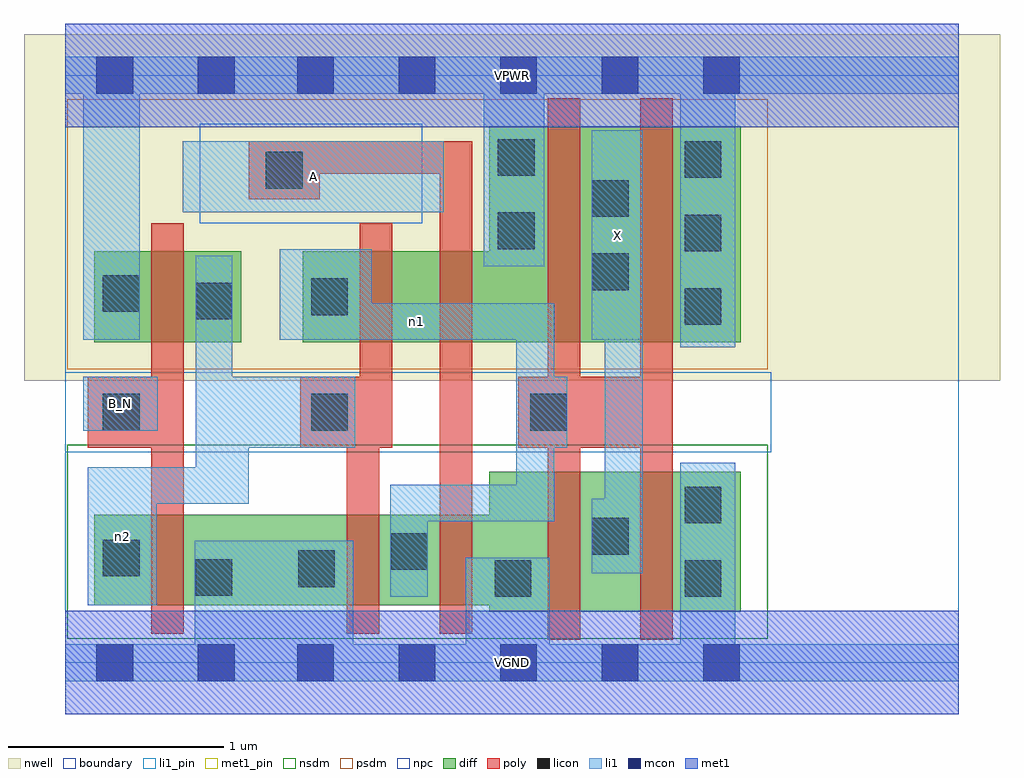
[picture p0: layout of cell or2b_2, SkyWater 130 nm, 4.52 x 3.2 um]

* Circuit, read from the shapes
.subckt or2b_2 A B_N VGND VPWR X n1 n2
XM1 VGND B_N n2 VSUBS sky130_fd_pr__nfet_01v8 w=0.42 l=0.15
XM2 n1 n2 VGND VSUBS sky130_fd_pr__nfet_01v8 w=0.42 l=0.15
XM3 VGND A n1 VSUBS sky130_fd_pr__nfet_01v8 w=0.42 l=0.15
XM4 X n1 VGND VSUBS sky130_fd_pr__nfet_01v8 w=0.65 l=0.15 m=2
XM5 n2 B_N VPWR n3 sky130_fd_pr__pfet_01v8 w=0.42 l=0.15
XM6 n4 n2 n1 n3 sky130_fd_pr__pfet_01v8 w=0.42 l=0.15
XM7 VPWR A n4 n3 sky130_fd_pr__pfet_01v8 w=0.42 l=0.15
XM8 X n1 VPWR n3 sky130_fd_pr__pfet_01v8 w=1 l=0.15 m=2
.ends

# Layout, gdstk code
import gdstk
lib = gdstk.Library(unit=1e-6, precision=1e-09)
def R(c, l, rs):  # rectangles x0, y0, x1, y1
    for r in rs: c.add(gdstk.rectangle(r[:2], r[2:], *l))
def A(c, l, x, y, w, h, nx, ny, dx, dy):  # array of equal rectangles
    R(c, l, [(x+i*dx, y+j*dy, x+i*dx+w, y+j*dy+h) for i in range(nx) for j in range(ny)])
nwell = (64, 20)
diff = (65, 20)
poly = (66, 20)
licon = (66, 44)
li1_pin = (67, 16)
li1 = (67, 20)
mcon = (67, 44)
met1_pin = (68, 16)
met1 = (68, 20)
nsdm = (93, 44)
psdm = (94, 20)
npc = (95, 20)
boundary = (235, 4)

or2b_2 = lib.new_cell('or2b_2')
R(or2b_2, nwell, [(-0.19,1.305,4.33,2.91), (0,1.305,4.14,2.91)])
R(or2b_2, diff, [(1.965,0.235,3.13,0.885), (0.135,0.265,3.13,0.685), (0.135,1.485,0.815,1.905), (1.1,1.485,3.13,1.905), (1.965,1.485,3.13,2.485)])
R(or2b_2, poly, [(2.235,0.105,2.385,2.615), (2.665,0.105,2.815,2.615), (0.4,0.135,0.55,2.035), (1.305,0.135,1.455,1.325), (1.735,0.135,1.885,2.415), (0.105,0.995,0.55,1.325), (1.09,0.995,1.515,1.325), (1.365,0.995,1.515,2.035), (2.1,0.995,2.815,1.325), (0.85,2.145,1.18,2.415), (0.85,2.265,1.885,2.415)])
A(or2b_2, licon, 2.87, 1.565, 0.17, 0.17, 1, 3, 0, 0.34)
R(or2b_2, licon, [(1.99,0.305,2.16,0.475), (2.87,0.305,3.04,0.475), (0.605,0.31,0.775,0.48), (1.08,0.35,1.25,0.52), (0.175,0.4,0.345,0.57), (1.51,0.43,1.68,0.6), (2.44,0.5,2.61,0.67), (2.87,0.645,3.04,0.815), (0.175,1.075,0.345,1.245), (1.14,1.075,1.31,1.245), (2.155,1.075,2.325,1.245), (0.605,1.59,0.775,1.76), (1.14,1.61,1.31,1.78), (0.175,1.625,0.345,1.795), (2.44,1.725,2.61,1.895), (2.005,1.915,2.175,2.085), (2.44,2.065,2.61,2.235), (0.93,2.195,1.1,2.365), (2.005,2.255,2.175,2.425)])
R(or2b_2, li1_pin, [(0.085,1.075,0.43,1.325), (2.44,1.495,2.675,2.465), (0.545,2.085,1.755,2.415)])
R(or2b_2, li1, [(0,-0.085,4.14,0.085), (0.6,-0.085,1.335,0.565), (1.855,-0.085,2.245,0.485), (2.85,-0.085,3.105,0.925), (0.105,0.265,0.425,0.905), (1.505,0.305,1.68,0.825), (2.44,0.415,2.675,0.76), (2.5,0.415,2.675,2.465), (1.505,0.655,2.265,0.825), (2.09,0.655,2.265,1.665), (0.105,0.735,0.85,0.905), (0.605,0.735,0.775,1.885), (0.605,0.735,0.85,1.325), (0.605,0.995,1.345,1.325), (2.09,0.995,2.325,1.325), (0.085,1.075,0.43,1.325), (2.85,1.46,3.105,2.805), (0.085,1.495,0.345,2.805), (0.995,1.495,2.265,1.665), (0.995,1.495,1.42,1.915), (2.44,1.495,2.675,2.465), (1.94,1.835,2.22,2.805), (0.545,2.085,1.755,2.415), (0,2.635,4.14,2.805)])
A(or2b_2, mcon, 1.075, -0.085, 0.17, 0.17, 5, 2, 0.47, 2.72)
R(or2b_2, mcon, [(0.145,-0.085,0.315,0.085), (0.615,-0.085,0.785,0.085), (0.145,2.635,0.315,2.805), (0.615,2.635,0.785,2.805)])
R(or2b_2, met1_pin, [(0,-0.24,4.14,0.24), (0,2.48,4.14,2.96)])
R(or2b_2, met1, [(0,-0.24,4.14,0.24), (0,2.48,4.14,2.96)])
R(or2b_2, nsdm, [(0.01,0.11,3.255,1.01)])
R(or2b_2, psdm, [(0.01,1.36,3.255,2.61)])
R(or2b_2, npc, [(0,0.975,3.27,1.345), (0.625,2.035,1.655,2.495)])
R(or2b_2, boundary, [(0,0,4.14,2.72)])
or2b_2.add(gdstk.Label('A', (1.15,2.25), layer=67, texttype=5))
or2b_2.add(gdstk.Label('B_N', (0.257,1.2), layer=67, texttype=5))
or2b_2.add(gdstk.Label('X', (2.557,1.98), layer=67, texttype=5))
or2b_2.add(gdstk.Label('n2', (0.265,0.585), layer=67, texttype=5))
or2b_2.add(gdstk.Label('n1', (1.63,1.58), layer=67, texttype=5))
or2b_2.add(gdstk.Label('VPWR', (2.07,2.72), layer=68, texttype=5))
or2b_2.add(gdstk.Label('VGND', (2.07,0), layer=68, texttype=5))
or2b_2.add(gdstk.Label('A', (1.15,2.25), layer=67, texttype=16))
or2b_2.add(gdstk.Label('B_N', (0.257,1.2), layer=67, texttype=16))
or2b_2.add(gdstk.Label('X', (2.557,1.98), layer=67, texttype=16))
or2b_2.add(gdstk.Label('VPWR', (2.07,2.72), layer=68, texttype=16))
or2b_2.add(gdstk.Label('VGND', (2.07,0), layer=68, texttype=16))

lib.write_gds('or2b_2.gds')
